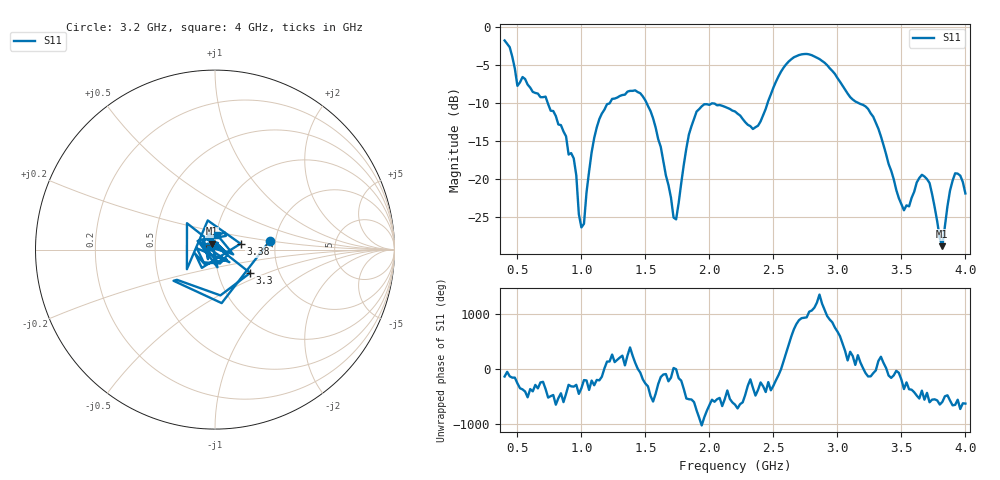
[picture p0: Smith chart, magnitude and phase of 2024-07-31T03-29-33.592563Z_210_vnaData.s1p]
!Created with skrf (http://scikit-rf.org).
# Hz S RI R 50.0
!freq ReS11 ImS11
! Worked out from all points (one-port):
!   181 points, 400 MHz to 4 GHz, reference 50 ohm
!   lowest |S11| = -28.9 dB at 3.82 GHz (marker M1), VSWR 1.07, Z = 48.4 + j3.19 ohm
!   |S11| at or under -10 dB: 737.1 MHz to 1.222 GHz (484.6 MHz wide, 49.5 % of centre); 1.509 GHz to 2.455 GHz (945.2 MHz wide, 47.7 % of centre); 3.164 GHz to end of sweep
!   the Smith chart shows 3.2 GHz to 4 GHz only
!   S11 on the Smith chart (normalised r, x): 3.2 GHz: 1.86, +0.20; 3.3 GHz: 1.42, -0.39; 3.38 GHz: 1.33, +0.09; 4 GHz: 1.01, +0.16
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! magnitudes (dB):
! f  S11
! 400 MHz  -1.8
! 500 MHz  -7.7
! 720 MHz  -9.2
! 860 MHz  -13.7
! 940 MHz  -17.3
! 1 GHz  -26.4
! 1.12 GHz  -13.2
! 1.3 GHz  -9.1
! 1.5 GHz  -9.7
! 1.62 GHz  -15.8
! 1.72 GHz  -25.1
! 1.76 GHz  -23.1
! 1.84 GHz  -14.1
! 1.9 GHz  -11.1
! 2.2 GHz  -11.1
! 2.38 GHz  -13.0
! 2.66 GHz  -4.0
! 2.86 GHz  -4.2
! 3.1 GHz  -9.2
! 3.2 GHz  -10.2
! 3.3 GHz  -12.6
! 3.38 GHz  -16.7
! 3.52 GHz  -24.1
! 3.56 GHz  -23.6
! 3.7 GHz  -20.0
! 3.82 GHz  -28.9
! 3.92 GHz  -19.3
! 4 GHz  -21.9
